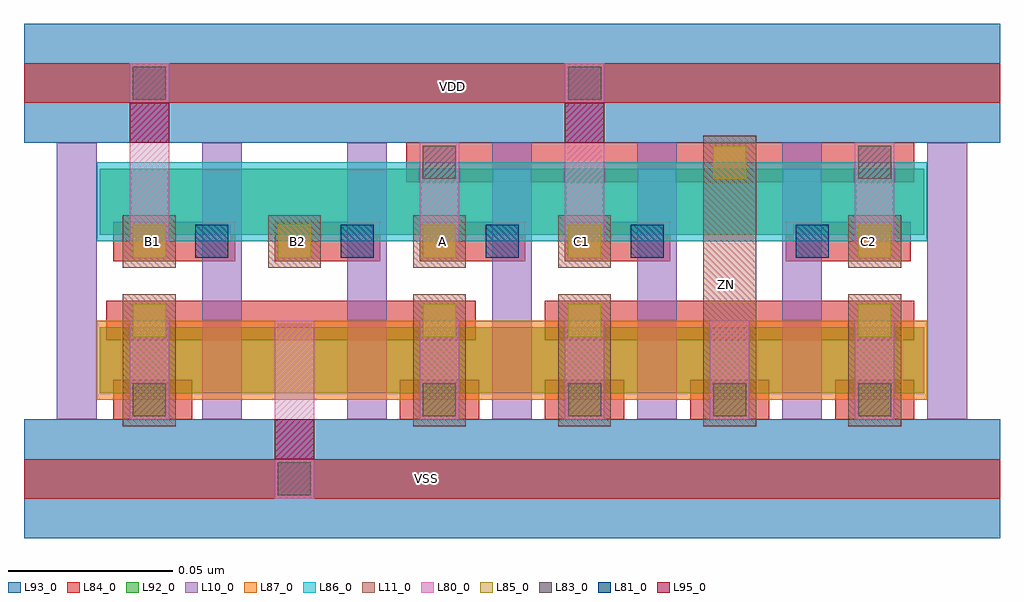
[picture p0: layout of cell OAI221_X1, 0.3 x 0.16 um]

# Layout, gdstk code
import gdstk
lib = gdstk.Library(unit=1e-6, precision=1e-09)
def R(c, l, rs):  # rectangles x0, y0, x1, y1
    for r in rs: c.add(gdstk.rectangle(r[:2], r[2:], *l))
def A(c, l, x, y, w, h, nx, ny, dx, dy):  # array of equal rectangles
    R(c, l, [(x+i*dx, y+j*dy, x+i*dx+w, y+j*dy+h) for i in range(nx) for j in range(ny)])
L10_0 = (10, 0)
L11_0 = (11, 0)
L80_0 = (80, 0)
L81_0 = (81, 0)
L83_0 = (83, 0)
L84_0 = (84, 0)
L85_0 = (85, 0)
L86_0 = (86, 0)
L87_0 = (87, 0)
L92_0 = (92, 0)
L93_0 = (93, 0)
L95_0 = (95, 0)

oai221_x1 = lib.new_cell('OAI221_X1')
A(oai221_x1, L10_0, -0.006, 0.018, 0.012, 0.084, 7, 1, 0.044, 0)
A(oai221_x1, L11_0, 0.014, 0.064, 0.016, 0.016, 4, 1, 0.044, 0)
R(oai221_x1, L11_0, [(0.014,0.016,0.03,0.056), (0.102,0.016,0.118,0.056), (0.146,0.016,0.162,0.056), (0.19,0.016,0.206,0.104), (0.234,0.016,0.25,0.056), (0.234,0.064,0.25,0.08)])
A(oai221_x1, L80_0, 0.104, 0.018, 0.012, 0.03, 4, 1, 0.044, 0)
R(oai221_x1, L80_0, [(0.06,-0.006,0.072,0.048), (0.016,0.018,0.028,0.048), (0.016,0.072,0.028,0.126), (0.104,0.072,0.116,0.102), (0.148,0.072,0.16,0.126), (0.236,0.072,0.248,0.102)])
A(oai221_x1, L81_0, 0.036, 0.067, 0.01, 0.01, 4, 1, 0.044, 0)
R(oai221_x1, L81_0, [(0.218,0.067,0.228,0.077)])
A(oai221_x1, L83_0, 0.105, 0.019, 0.01, 0.01, 4, 1, 0.044, 0)
R(oai221_x1, L83_0, [(0.061,-0.005,0.071,0.005), (0.017,0.019,0.027,0.029), (0.105,0.091,0.115,0.101), (0.237,0.091,0.247,0.101), (0.017,0.115,0.027,0.125), (0.149,0.115,0.159,0.125)])
A(oai221_x1, L84_0, 0.098, 0.018, 0.024, 0.012, 4, 1, 0.044, 0)
A(oai221_x1, L84_0, 0.06, 0.066, 0.032, 0.012, 3, 1, 0.044, 0)
R(oai221_x1, L84_0, [(-0.016,-0.006,0.28,0.006), (0.011,0.018,0.035,0.03), (0.009,0.042,0.121,0.054), (0.142,0.042,0.254,0.054), (0.011,0.066,0.048,0.078), (0.215,0.066,0.253,0.078), (0.1,0.09,0.254,0.102), (-0.016,0.114,0.28,0.126)])
A(oai221_x1, L85_0, 0.105, 0.019, 0.01, 0.01, 4, 1, 0.044, 0)
A(oai221_x1, L85_0, 0.017, 0.067, 0.01, 0.01, 4, 1, 0.044, 0)
R(oai221_x1, L85_0, [(0.017,0.019,0.027,0.029), (0.017,0.043,0.027,0.053), (0.105,0.043,0.115,0.053), (0.149,0.043,0.159,0.053), (0.237,0.043,0.247,0.053), (0.237,0.067,0.247,0.077), (0.193,0.091,0.203,0.101)])
R(oai221_x1, L86_0, [(0.006,0.072,0.258,0.096)])
R(oai221_x1, L87_0, [(0.006,0.024,0.258,0.048)])
R(oai221_x1, L92_0, [(0.007,0.026,0.257,0.046), (0.007,0.074,0.257,0.094)])
R(oai221_x1, L93_0, [(-0.016,-0.018,0.28,0.018), (-0.016,0.102,0.28,0.138)])
R(oai221_x1, L95_0, [(0.06,0.006,0.072,0.018), (0.016,0.102,0.028,0.114), (0.148,0.102,0.16,0.114)])
oai221_x1.add(gdstk.Label('VSS', (0.106,0), layer=88, texttype=0))
oai221_x1.add(gdstk.Label('VDD', (0.114,0.119), layer=88, texttype=0))
oai221_x1.add(gdstk.Label('C2', (0.24,0.072), layer=31, texttype=0))
oai221_x1.add(gdstk.Label('ZN', (0.197,0.059), layer=31, texttype=0))
oai221_x1.add(gdstk.Label('C1', (0.153,0.072), layer=31, texttype=0))
oai221_x1.add(gdstk.Label('B1', (0.023,0.072), layer=31, texttype=0))
oai221_x1.add(gdstk.Label('A', (0.111,0.072), layer=31, texttype=0))
oai221_x1.add(gdstk.Label('B2', (0.067,0.072), layer=31, texttype=0))

lib.write_gds('OAI221_X1.gds')
